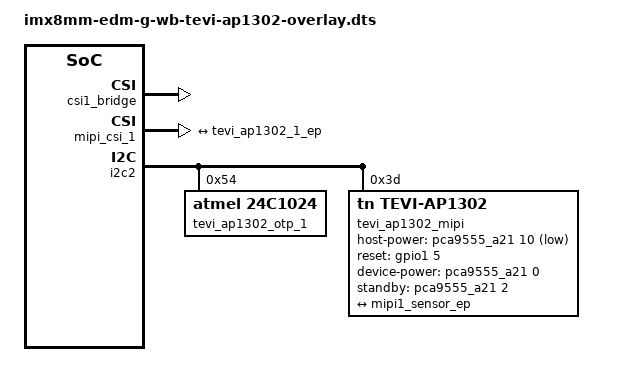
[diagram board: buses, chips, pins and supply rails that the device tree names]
// SPDX-License-Identifier: (GPL-2.0+ OR MIT)
/*
 * Copyright 2020 TechNexion Ltd.
 *
 * Author: Richard Hu <richard.hu@technexion.com>
 *         Ray Chang <ray.chang@technexion.com>
 *
 */

/dts-v1/;
/plugin/;

#include <dt-bindings/interrupt-controller/irq.h>
#include <dt-bindings/clock/imx8mm-clock.h>
#include <dt-bindings/gpio/gpio.h>

/ {
	fragment@0 {
		target = <&csi1_bridge>;
		__overlay__ {
			status = "okay";
		};
	};

	fragment@1 {
		target = <&mipi_csi_1>;
		__overlay__ {
			status = "okay";
			#address-cells = <1>;
			#size-cells = <0>;

			port {
				mipi1_sensor_ep: endpoint@1 {
					remote-endpoint = <&tevi_ap1302_1_ep>;
					data-lanes = <2>;
					csis-hs-settle = <19>;
					csis-clk-settle = <2>;
					csis-wclk;
				};
			};
		};
	};

	fragment@2 {
		target = <&i2c2>;
		__overlay__ {
			#address-cells = <1>;
			#size-cells = <0>;
			status = "okay";

			tevi_ap1302_otp_1: tevi_ap1302_otp@54 {
				compatible = "atmel,24c1024";
				reg = <0x54>;
				pagesize = <256>;
				//read-only;
			};

			tevi_ap1302_mipi: tevi_ap1302_mipi@3d {
				compatible = "tn,tevi-ap1302";

				reg = <0x3d>;

				pinctrl-names = "default";
				pinctrl-0 = <&pinctrl_csi_rst>;
				host-power-gpios = <&pca9555_a21 10 GPIO_ACTIVE_LOW>;
				reset-gpios = <&gpio1 5 GPIO_ACTIVE_HIGH>;
				device-power-gpios = <&pca9555_a21 0 GPIO_ACTIVE_HIGH>;
				standby-gpios = <&pca9555_a21 2 GPIO_ACTIVE_HIGH>;
				nvmem = <&tevi_ap1302_otp_1>;
				nvmem-names = "calib-data";
				data-lanes = <2>;
				continuous-clock = <0>;
				supports-over-4k-res;
				status = "okay";

				port {
					tevi_ap1302_1_ep: endpoint {
						remote-endpoint = <&mipi1_sensor_ep>;
					};
				};
			};
		};
	};
};
